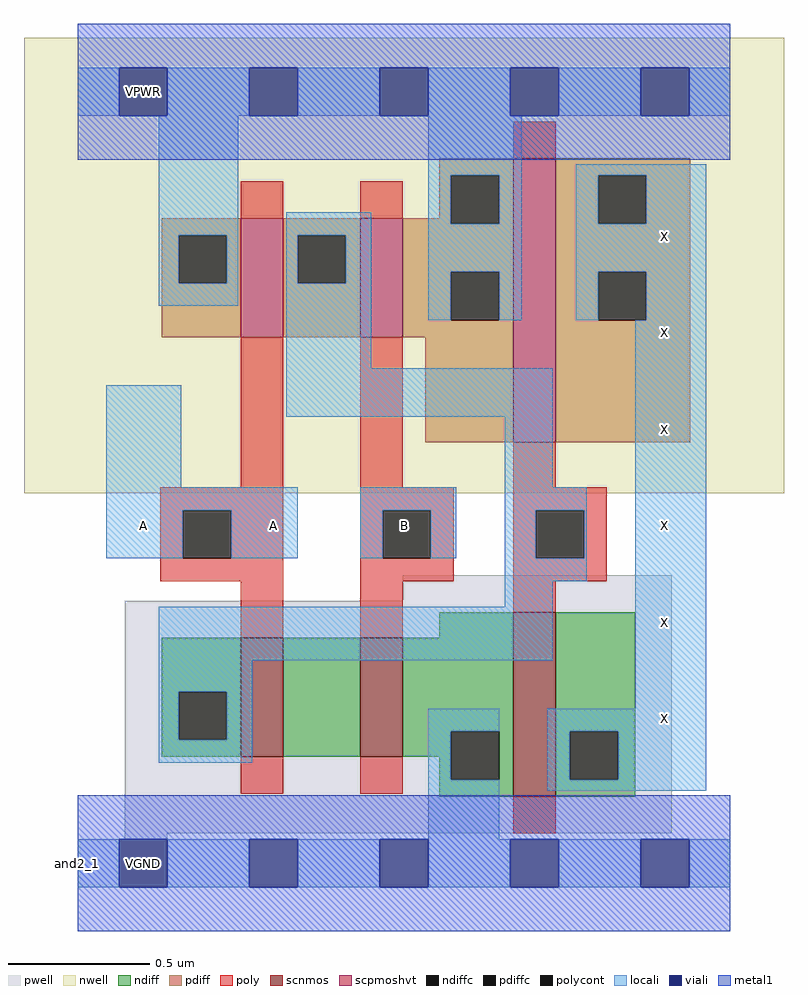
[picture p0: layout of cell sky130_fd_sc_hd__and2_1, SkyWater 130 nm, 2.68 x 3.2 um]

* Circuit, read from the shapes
.subckt sky130_fd_sc_hd__and2_1 VPWR VGND VPB VNB X A B
XM1 n1 A n2 VNB sky130_fd_pr__nfet_01v8 w=0.42 l=0.15
XM2 VGND B n1 VNB sky130_fd_pr__nfet_01v8 w=0.42 l=0.15
XM3 X n2 VGND VNB sky130_fd_pr__nfet_01v8 w=0.65 l=0.15
XM4 n2 A VPWR VPB sky130_fd_pr__pfet_01v8_hvt w=0.42 l=0.15
XM5 VPWR B n2 VPB sky130_fd_pr__pfet_01v8_hvt w=0.42 l=0.15
XM6 X n2 VPWR VPB sky130_fd_pr__pfet_01v8_hvt w=1 l=0.15
.ends

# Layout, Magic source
magic
tech sky130B
magscale 1 2
<< nwell >>
rect -38 221 498 542
<< pwell >>
rect 229 145 419 163
rect 33 -19 419 145
rect 33 -23 63 -19
rect 29 -57 63 -23
<< scnmos >>
rect 115 35 145 119
rect 199 35 229 119
rect 307 7 337 137
<< scpmoshvt >>
rect 115 331 145 415
rect 199 331 229 415
rect 307 257 337 457
<< ndiff >>
rect 255 119 307 137
rect 59 81 115 119
rect 59 47 71 81
rect 105 47 115 81
rect 59 35 115 47
rect 145 35 199 119
rect 229 53 307 119
rect 229 35 263 53
rect 255 19 263 35
rect 297 19 307 53
rect 255 7 307 19
rect 337 53 393 137
rect 337 19 347 53
rect 381 19 393 53
rect 337 7 393 19
<< pdiff >>
rect 255 445 307 457
rect 255 415 263 445
rect 59 403 115 415
rect 59 369 71 403
rect 105 369 115 403
rect 59 331 115 369
rect 145 403 199 415
rect 145 369 155 403
rect 189 369 199 403
rect 145 331 199 369
rect 229 411 263 415
rect 297 411 307 445
rect 229 377 307 411
rect 229 343 263 377
rect 297 343 307 377
rect 229 331 307 343
rect 245 257 307 331
rect 337 445 432 457
rect 337 411 367 445
rect 401 411 432 445
rect 337 377 432 411
rect 337 343 367 377
rect 401 343 432 377
rect 337 257 432 343
<< ndiffc >>
rect 71 47 105 81
rect 263 19 297 53
rect 347 19 381 53
<< pdiffc >>
rect 71 369 105 403
rect 155 369 189 403
rect 263 411 297 445
rect 263 343 297 377
rect 367 411 401 445
rect 367 343 401 377
<< poly >>
rect 307 457 337 483
rect 115 415 145 441
rect 199 415 229 441
rect 115 225 145 331
rect 58 209 145 225
rect 58 175 74 209
rect 108 175 145 209
rect 58 159 145 175
rect 115 119 145 159
rect 199 225 229 331
rect 307 225 337 257
rect 199 209 265 225
rect 199 175 215 209
rect 249 175 265 209
rect 199 159 265 175
rect 307 209 373 225
rect 307 175 323 209
rect 357 175 373 209
rect 307 159 373 175
rect 199 119 229 159
rect 307 137 337 159
rect 115 9 145 35
rect 199 9 229 35
rect 307 -19 337 7
<< polycont >>
rect 74 175 108 209
rect 215 175 249 209
rect 323 175 357 209
<< locali >>
rect 0 487 29 521
rect 63 487 121 521
rect 155 487 213 521
rect 247 487 305 521
rect 339 487 397 521
rect 431 487 460 521
rect 57 403 113 487
rect 247 445 313 487
rect 57 369 71 403
rect 105 369 113 403
rect 57 353 113 369
rect 147 403 207 419
rect 147 369 155 403
rect 189 369 207 403
rect 147 309 207 369
rect 247 411 263 445
rect 297 411 313 445
rect 247 377 313 411
rect 247 343 263 377
rect 297 343 313 377
rect 351 445 443 453
rect 351 411 367 445
rect 401 411 443 445
rect 351 377 443 411
rect 351 343 367 377
rect 401 343 443 377
rect 20 225 73 297
rect 147 275 335 309
rect 301 225 335 275
rect 20 209 155 225
rect 20 175 74 209
rect 108 175 155 209
rect 199 209 267 225
rect 199 175 215 209
rect 249 175 267 209
rect 301 209 359 225
rect 301 175 323 209
rect 357 175 359 209
rect 301 159 359 175
rect 301 141 335 159
rect 57 103 335 141
rect 57 81 123 103
rect 57 47 71 81
rect 105 47 123 81
rect 393 69 443 343
rect 57 31 123 47
rect 247 53 297 69
rect 247 19 263 53
rect 247 -23 297 19
rect 331 53 443 69
rect 331 19 347 53
rect 381 19 443 53
rect 331 11 443 19
rect 0 -57 29 -23
rect 63 -57 121 -23
rect 155 -57 213 -23
rect 247 -57 305 -23
rect 339 -57 397 -23
rect 431 -57 460 -23
<< viali >>
rect 29 487 63 521
rect 121 487 155 521
rect 213 487 247 521
rect 305 487 339 521
rect 397 487 431 521
rect 29 -57 63 -23
rect 121 -57 155 -23
rect 213 -57 247 -23
rect 305 -57 339 -23
rect 397 -57 431 -23
<< metal1 >>
rect 0 521 460 552
rect 0 487 29 521
rect 63 487 121 521
rect 155 487 213 521
rect 247 487 305 521
rect 339 487 397 521
rect 431 487 460 521
rect 0 456 460 487
rect 0 -23 460 8
rect 0 -57 29 -23
rect 63 -57 121 -23
rect 155 -57 213 -23
rect 247 -57 305 -23
rect 339 -57 397 -23
rect 431 -57 460 -23
rect 0 -88 460 -57
<< labels >>
rlabel comment s 0 -40 0 -40 4 and2_1
flabel metal1 s 29 487 63 521 0 FreeSans 200 0 0 0 VPWR
port 2 nsew
flabel metal1 s 29 -57 63 -23 0 FreeSans 200 0 0 0 VGND
port 3 nsew
flabel nwell s 29 487 63 521 0 FreeSans 200 0 0 0 VPB
port 5 nsew
flabel pwell s 29 -57 63 -23 0 FreeSans 200 0 0 0 VNB
port 6 nsew
flabel locali s 397 113 431 147 0 FreeSans 250 0 0 0 X
port 7 nsew
flabel locali s 397 45 431 79 0 FreeSans 250 0 0 0 X
port 7 nsew
flabel locali s 397 181 431 215 0 FreeSans 250 0 0 0 X
port 7 nsew
flabel locali s 397 249 431 283 0 FreeSans 250 0 0 0 X
port 7 nsew
flabel locali s 397 317 431 351 0 FreeSans 250 0 0 0 X
port 7 nsew
flabel locali s 397 385 431 419 0 FreeSans 250 0 0 0 X
port 7 nsew
flabel locali s 213 181 247 215 0 FreeSans 250 0 0 0 B
port 9 nsew
flabel locali s 121 181 155 215 0 FreeSans 250 0 0 0 A
port 8 nsew
flabel locali s 29 181 63 215 0 FreeSans 250 0 0 0 A
port 8 nsew
<< properties >>
string FIXED_BBOX 0 -40 460 504
string path 0.000 12.600 11.500 12.600 
<< end >>
